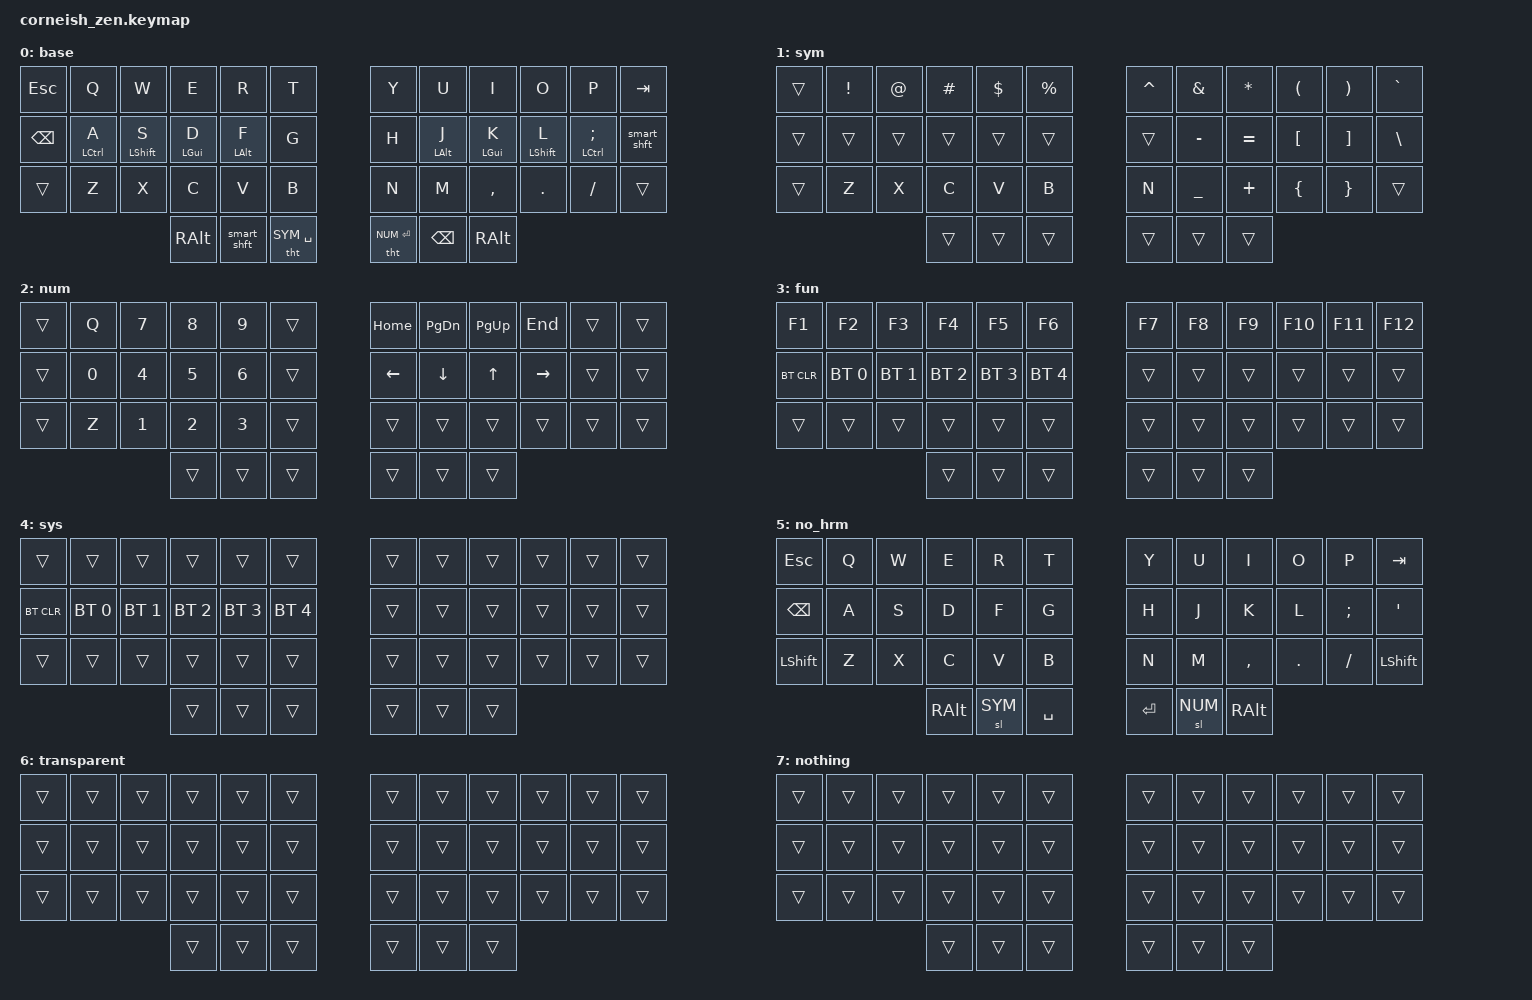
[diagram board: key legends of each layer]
/*                                      42 KEY MATRIX / LAYOUT MAPPING

  ╭────────────────────────┬────────────────────────╮ ╭─────────────────────────┬─────────────────────────╮
  │  0   1   2   3   4   5 │  6   7   8   9  10  11 │ │ LT5 LT4 LT3 LT2 LT1 LT0 │ RT0 RT1 RT2 RT3 RT4 RT5 │
  │ 12  13  14  15  16  17 │ 18  19  20  21  22  23 │ │ LM5 LM4 LM3 LM2 LM1 LM0 │ RM0 RM1 RM2 RM3 RM4 RM5 │
  │ 24  25  26  27  28  29 │ 30  31  32  33  34  35 │ │ LB5 LB4 LB3 LB2 LB1 LB0 │ RB0 RB1 RB2 RB3 RB4 RB5 │
  ╰───────────╮ 36  37  38 │ 39  40  41 ╭───────────╯ ╰───────────╮ LH2 LH1 LH0 │ RH0 RH1 RH2 ╭───────────╯
              ╰────────────┴────────────╯                         ╰─────────────┴─────────────╯             */
#include "zmk-helpers/helper.h"
#include "zmk-helpers/key-labels/42.h"

/* source ZMK helpers */
#include <behaviors.dtsi>
#include <dt-bindings/zmk/keys.h>

/* activate bluetooth */
#include <dt-bindings/zmk/bt.h>


#define BASE 0
#define SYM 1
#define NUM 2
#define FUN 3
#define SYS 4
#define NO_HRM 5
#define TRANSPARENT 6
#define NOTHING 7

#define XXX &none
#define ___ &trans

/* Global settings */

#define QUICK_TAP_MS 175

&sk {  // sticky-key config
    release-after-ms = <900>;  // release after 0.6s
    quick-release;             // no double capitalization when rolling keys
};

&sl {  // sticky-layer config
    ignore-modifiers;          // allow chording sticky mods & layers
};

&lt {  // layer-tap config
    flavor = "balanced";
    tapping-term-ms = <200>;
    quick-tap-ms = <QUICK_TAP_MS>;
};

/* Homerow mods */

#define KEYS_L LT0 LT1 LT2 LT3 LT4 LT5 LM0 LM1 LM2 LM3 LM4 LM5 LB0 LB1 LB2 LB3 LB4 LB5  // left hand
#define KEYS_R RT0 RT1 RT2 RT3 RT4 RT5 RM0 RM1 RM2 RM3 RM4 RM5 RB0 RB1 RB2 RB3 RB4 RB5  // right hand
#define THUMBS LH2 LH1 LH0 RH0 RH1 RH2                                                  // thumbs

#define MAKE_HRM(NAME, HOLD, TAP, TRIGGER_POS) \
    ZMK_BEHAVIOR(NAME, hold_tap, \
        flavor = "balanced"; \
        tapping-term-ms = <250>; \
        quick-tap-ms = <QUICK_TAP_MS>; \
        require-prior-idle-ms = <100>; \
        bindings = <HOLD>, <TAP>; \
        hold-trigger-key-positions = <TRIGGER_POS>; \
        hold-trigger-on-release; \
    )
MAKE_HRM(hml, &kp, &kp, KEYS_R THUMBS)  // left-hand HRMs
MAKE_HRM(hmr, &kp, &kp, KEYS_L THUMBS)  // right-hand HRMs

//MAKE_HRM(hml_repeat, &kp, &key_repeat, KEYS_R THUMBS)  // used for HRM-combo
//MAKE_HRM(hmr_lpar_lt, &kp, &lpar_lt, KEYS_L THUMBS)    // "    "   "   "
//MAKE_HRM(hmr_rpar_gt, &kp, &rpar_gt, KEYS_L THUMBS)    // "    "   "   "

/* Thumbs hold-tap */
// tap: key press | hold: switch layer
ZMK_BEHAVIOR(tht, hold_tap,
    flavor = "balanced";
    tapping-term-ms = <280>;
    quick-tap-ms = <QUICK_TAP_MS>;
    require-prior-idle-ms = <100>;
    bindings = <&sl>, <&kp>;
)

#define tht_space &tht SYM SPACE
#define tht_enter &tht NUM ENTER
#define tht_bspc  &tht NUM BSPC

/* Smart shift */

// tap: sticky-shift | shift + tap/ double-tap: caps-word | hold: shift
ZMK_BEHAVIOR(smart_shft, mod_morph,
    bindings = <&sk LSHFT>, <&caps_word>;
    mods = <(MOD_LSFT)>;
)
&caps_word {  // mods deactivate caps-word, requires PR #1451
    /delete-property/ ignore-modifiers;
};

/* Combos */
#define COMBO_TERM_SLOW 30
#define COMBO_TERM_FAST 25

ZMK_COMBO(tog_no_hrm, &tog NO_HRM, LT5 RT5, ALL, COMBO_TERM_SLOW)
ZMK_COMBO(tog_fun, &tog FUN, LH1 RH1, ALL, COMBO_TERM_SLOW)

/* Vertical combos - left hand */
ZMK_COMBO(excl,  &kp EXCL,      LT4 LM4,     BASE, COMBO_TERM_SLOW)
ZMK_COMBO(at,    &kp AT,        LT3 LM3,     BASE, COMBO_TERM_SLOW)
ZMK_COMBO(hash,  &kp HASH,      LT2 LM2,     BASE, COMBO_TERM_SLOW)
ZMK_COMBO(dllr,  &kp DLLR,      LT1 LM1,     BASE, COMBO_TERM_SLOW)
ZMK_COMBO(prcnt, &kp PRCNT,     LT0 LM0,     BASE, COMBO_TERM_SLOW)

ZMK_COMBO(lpar,  &kp LPAR,      LM1 LB1,     BASE, COMBO_TERM_SLOW)
ZMK_COMBO(lbkt,  &kp LBKT,      LM2 LB2,     BASE, COMBO_TERM_SLOW)
ZMK_COMBO(lbrc,  &kp LBRC,      LM3 LB3,     BASE, COMBO_TERM_SLOW)

/* Vertical combos - right hand */
ZMK_COMBO(caret, &kp CARET,     RT0 RM0,     BASE, COMBO_TERM_SLOW)
ZMK_COMBO(amps,  &kp AMPS,      RT1 RM1,     BASE, COMBO_TERM_SLOW)
ZMK_COMBO(astrk, &kp ASTRK,     RT2 RM2,     BASE, COMBO_TERM_SLOW)
ZMK_COMBO(minus, &kp MINUS,     RT3 RM3,     BASE, COMBO_TERM_SLOW)
ZMK_COMBO(plus,  &kp PLUS,      RT4 RM4,     BASE, COMBO_TERM_SLOW)

ZMK_COMBO(rpar,  &kp RPAR,      RM1 RB1,     BASE, COMBO_TERM_SLOW)
ZMK_COMBO(rbkt,  &kp RBKT,      RM2 RB2,     BASE, COMBO_TERM_SLOW)
ZMK_COMBO(rbrc,  &kp RBRC,      RM3 RB3,     BASE, COMBO_TERM_SLOW)

/* Horizontal combos - left hand */
#define HRC_ESC   &hml LA(LGUI) ESC
ZMK_COMBO(esc,   HRC_ESC,       LM2 LM1,     BASE, COMBO_TERM_FAST)
#define HRC_MINUS &hml LS(LGUI) MINUS
ZMK_COMBO(minus,   HRC_MINUS,     LM3 LM2,     BASE, COMBO_TERM_FAST)

/* Horizontal combos - right hand */
#define HRC_TAB &hmr LA(LGUI) TAB
ZMK_COMBO(tab,   HRC_TAB,       RM1 RM2,     BASE, COMBO_TERM_FAST)
#define HRC_SQT &hmr LS(LCTRL) SQT
ZMK_COMBO(sqt,   HRC_SQT,       RM2 RM3,     BASE, COMBO_TERM_FAST)

ZMK_COMBO(bslh,   &kp BSLH,      RB3 RB4,     BASE, COMBO_TERM_SLOW)
ZMK_COMBO(grave,  &kp GRAVE,     RT3 RT4,     BASE, COMBO_TERM_SLOW)

/* Keymap */

// ZMK_CONDITIONAL_LAYER(SYM NUM, SYS)  // SYM + NUM --> SYS

ZMK_LAYER(base,
// ╭─────────────┬─────────────┬─────────────┬─────────────┬─────────────┬─────────────╮  ╭─────────────┬─────────────┬─────────────┬─────────────┬─────────────┬─────────────╮
     &kp ESC       &kp Q         &kp W         &kp E         &kp R         &kp T            &kp Y         &kp U         &kp I         &kp O         &kp P         &kp TAB
// ├─────────────┼─────────────┼─────────────┼─────────────┼─────────────┼─────────────┤  ├─────────────┼─────────────┼─────────────┼─────────────┼─────────────┼─────────────┤
     &kp BSPC      &hml LCTRL A  &hml LSHFT S  &hml LGUI D   &hml LALT  F  &kp G            &kp H         &hmr LALT J   &hmr LGUI K   &hmr LSHFT L  &hmr LCTRL SEMI &smart_shft
// ├─────────────┼─────────────┼─────────────┼─────────────┼─────────────┼─────────────┤  ├─────────────┼─────────────┼─────────────┼─────────────┼─────────────┼─────────────┤
     ___           &kp Z         &kp X         &kp C         &kp V         &kp B            &kp N         &kp M         &kp COMMA     &kp DOT       &kp FSLH      ___
// ╰─────────────┴─────────────┴─────────────┼─────────────┼─────────────┼─────────────┤  ├─────────────┼─────────────┼─────────────┼─────────────┴─────────────┴─────────────╯
                                               &kp RALT      &smart_shft   tht_space        tht_enter     &kp BSPC      &kp RALT
//                                           ╰─────────────┴─────────────┴─────────────╯  ╰─────────────┴─────────────┴─────────────╯
)

ZMK_LAYER(sym,
// ╭─────────────┬─────────────┬─────────────┬─────────────┬─────────────┬─────────────╮  ╭─────────────┬─────────────┬─────────────┬─────────────┬─────────────┬─────────────╮
     ___           &kp EXCL      &kp AT        &kp HASH      &kp DOLLAR    &kp PERCENT      &kp CARET     &kp AMPS      &kp ASTRK     &kp LPAR      &kp RPAR      &kp GRAVE
// ├─────────────┼─────────────┼─────────────┼─────────────┼─────────────┼─────────────┤  ├─────────────┼─────────────┼─────────────┼─────────────┼─────────────┼─────────────┤
     ___           ___           ___           ___           ___           ___              ___           &kp MINUS     &kp EQUAL     &kp LBKT      &kp RBKT      &kp BSLH
// ├─────────────┼─────────────┼─────────────┼─────────────┼─────────────┼─────────────┤  ├─────────────┼─────────────┼─────────────┼─────────────┼─────────────┼─────────────┤
     ___           &kp Z         &kp X         &kp C         &kp V         &kp B            &kp N         &kp UNDER     &kp PLUS      &kp LBRC      &kp RBRC      ___
// ╰─────────────┴─────────────┴─────────────┼─────────────┼─────────────┼─────────────┤  ├─────────────┼─────────────┼─────────────┼─────────────┴─────────────┴─────────────╯
                                               ___           ___           ___              ___           ___           ___
//                                           ╰─────────────┴─────────────┴─────────────╯  ╰─────────────┴─────────────┴─────────────╯
)

ZMK_LAYER(num,
// ╭─────────────┬─────────────┬─────────────┬─────────────┬─────────────┬─────────────╮  ╭─────────────┬─────────────┬─────────────┬─────────────┬─────────────┬─────────────╮
     ___           &kp Q         &kp N7        &kp N8        &kp N9        ___              &kp HOME      &kp PG_DN     &kp PG_UP     &kp END       ___           ___
// ├─────────────┼─────────────┼─────────────┼─────────────┼─────────────┼─────────────┤  ├─────────────┼─────────────┼─────────────┼─────────────┼─────────────┼─────────────┤
     ___           &kp N0        &kp N4        &kp N5        &kp N6        ___              &kp LEFT      &kp DOWN      &kp UP        &kp RIGHT     ___           ___
// ├─────────────┼─────────────┼─────────────┼─────────────┼─────────────┼─────────────┤  ├─────────────┼─────────────┼─────────────┼─────────────┼─────────────┼─────────────┤
     ___           &kp Z         &kp N1        &kp N2        &kp N3        ___              ___           ___           ___           ___           ___           ___
// ╰─────────────┴─────────────┴─────────────┼─────────────┼─────────────┼─────────────┤  ├─────────────┼─────────────┼─────────────┼─────────────┴─────────────┴─────────────╯
                                               ___           ___           ___              ___           ___           ___
//                                           ╰─────────────┴─────────────┴─────────────╯  ╰─────────────┴─────────────┴─────────────╯
)

ZMK_LAYER(fun,
// ╭─────────────┬─────────────┬─────────────┬─────────────┬─────────────┬─────────────╮  ╭─────────────┬─────────────┬─────────────┬─────────────┬─────────────┬─────────────╮
     &kp F1        &kp F2        &kp F3        &kp F4        &kp F5        &kp F6           &kp F7        &kp F8        &kp F9        &kp F10       &kp F11       &kp F12
// ├─────────────┼─────────────┼─────────────┼─────────────┼─────────────┼─────────────┤  ├─────────────┼─────────────┼─────────────┼─────────────┼─────────────┼─────────────┤
     &bt BT_CLR    &bt BT_SEL 0  &bt BT_SEL 1  &bt BT_SEL 2  &bt BT_SEL 3  &bt BT_SEL 4     ___           ___           ___           ___           ___           ___
// ├─────────────┼─────────────┼─────────────┼─────────────┼─────────────┼─────────────┤  ├─────────────┼─────────────┼─────────────┼─────────────┼─────────────┼─────────────┤
     ___           ___           ___           ___           ___           ___              ___           ___           ___           ___           ___           ___
// ╰─────────────┴─────────────┴─────────────┼─────────────┼─────────────┼─────────────┤  ├─────────────┼─────────────┼─────────────┼─────────────┴─────────────┴─────────────╯
                                               ___           ___           ___              ___           ___           ___
//                                           ╰─────────────┴─────────────┴─────────────╯  ╰─────────────┴─────────────┴─────────────╯
)

ZMK_LAYER(sys,
// ╭─────────────┬─────────────┬─────────────┬─────────────┬─────────────┬─────────────╮  ╭─────────────┬─────────────┬─────────────┬─────────────┬─────────────┬─────────────╮
     ___           ___           ___           ___           ___           ___              ___           ___           ___           ___           ___           ___
// ├─────────────┼─────────────┼─────────────┼─────────────┼─────────────┼─────────────┤  ├─────────────┼─────────────┼─────────────┼─────────────┼─────────────┼─────────────┤
     &bt BT_CLR    &bt BT_SEL 0  &bt BT_SEL 1  &bt BT_SEL 2  &bt BT_SEL 3  &bt BT_SEL 4     ___           ___           ___           ___           ___           ___
// ├─────────────┼─────────────┼─────────────┼─────────────┼─────────────┼─────────────┤  ├─────────────┼─────────────┼─────────────┼─────────────┼─────────────┼─────────────┤
     ___           ___           ___           ___           ___           ___              ___           ___           ___           ___           ___           ___
// ╰─────────────┴─────────────┴─────────────┼─────────────┼─────────────┼─────────────┤  ├─────────────┼─────────────┼─────────────┼─────────────┴─────────────┴─────────────╯
                                               ___           ___           ___              ___           ___           ___
//                                           ╰─────────────┴─────────────┴─────────────╯  ╰─────────────┴─────────────┴─────────────╯
)

ZMK_LAYER(no_hrm,
// ╭─────────────┬─────────────┬─────────────┬─────────────┬─────────────┬─────────────╮  ╭─────────────┬─────────────┬─────────────┬─────────────┬─────────────┬─────────────╮
     &kp ESC       &kp Q         &kp W         &kp E         &kp R         &kp T            &kp Y         &kp U         &kp I         &kp O         &kp P         &kp TAB
// ├─────────────┼─────────────┼─────────────┼─────────────┼─────────────┼─────────────┤  ├─────────────┼─────────────┼─────────────┼─────────────┼─────────────┼─────────────┤
     &kp BSPC      &kp A         &kp S         &kp D         &kp F         &kp G            &kp H         &kp J         &kp K         &kp L         &kp SEMI      &kp SQT
// ├─────────────┼─────────────┼─────────────┼─────────────┼─────────────┼─────────────┤  ├─────────────┼─────────────┼─────────────┼─────────────┼─────────────┼─────────────┤
     &kp LSHFT     &kp Z         &kp X         &kp C         &kp V         &kp B            &kp N         &kp M         &kp COMMA     &kp DOT       &kp FSLH      &kp LSHFT
// ╰─────────────┴─────────────┴─────────────┼─────────────┼─────────────┼─────────────┤  ├─────────────┼─────────────┼─────────────┼─────────────┴─────────────┴─────────────╯
                                               &kp RALT      &sl SYM       &kp SPACE        &kp ENTER     &sl NUM       &kp RALT
//                                           ╰─────────────┴─────────────┴─────────────╯  ╰─────────────┴─────────────┴─────────────╯
)

ZMK_LAYER(transparent,
// ╭─────────────┬─────────────┬─────────────┬─────────────┬─────────────┬─────────────╮  ╭─────────────┬─────────────┬─────────────┬─────────────┬─────────────┬─────────────╮
     ___           ___           ___           ___           ___           ___              ___           ___           ___           ___           ___           ___
// ├─────────────┼─────────────┼─────────────┼─────────────┼─────────────┼─────────────┤  ├─────────────┼─────────────┼─────────────┼─────────────┼─────────────┼─────────────┤
     ___           ___           ___           ___           ___           ___              ___           ___           ___           ___           ___           ___
// ├─────────────┼─────────────┼─────────────┼─────────────┼─────────────┼─────────────┤  ├─────────────┼─────────────┼─────────────┼─────────────┼─────────────┼─────────────┤
     ___           ___           ___           ___           ___           ___              ___           ___           ___           ___           ___           ___
// ╰─────────────┴─────────────┴─────────────┼─────────────┼─────────────┼─────────────┤  ├─────────────┼─────────────┼─────────────┼─────────────┴─────────────┴─────────────╯
                                               ___           ___           ___              ___           ___           ___
//                                           ╰─────────────┴─────────────┴─────────────╯  ╰─────────────┴─────────────┴─────────────╯
)

ZMK_LAYER(nothing,
// ╭─────────────┬─────────────┬─────────────┬─────────────┬─────────────┬─────────────╮  ╭─────────────┬─────────────┬─────────────┬─────────────┬─────────────┬─────────────╮
     ___           ___           ___           ___           ___           ___              ___           ___           ___           ___           ___           ___
// ├─────────────┼─────────────┼─────────────┼─────────────┼─────────────┼─────────────┤  ├─────────────┼─────────────┼─────────────┼─────────────┼─────────────┼─────────────┤
     ___           ___           ___           ___           ___           ___              ___           ___           ___           ___           ___           ___
// ├─────────────┼─────────────┼─────────────┼─────────────┼─────────────┼─────────────┤  ├─────────────┼─────────────┼─────────────┼─────────────┼─────────────┼─────────────┤
     ___           ___           ___           ___           ___           ___              ___           ___           ___           ___           ___           ___
// ╰─────────────┴─────────────┴─────────────┼─────────────┼─────────────┼─────────────┤  ├─────────────┼─────────────┼─────────────┼─────────────┴─────────────┴─────────────╯
                                               ___           ___           ___              ___           ___           ___
//                                           ╰─────────────┴─────────────┴─────────────╯  ╰─────────────┴─────────────┴─────────────╯
)

/* vim: set ft=c tw=174: */
